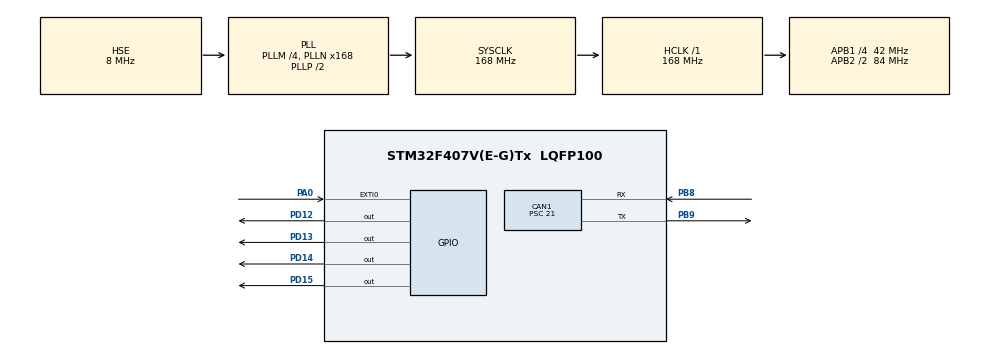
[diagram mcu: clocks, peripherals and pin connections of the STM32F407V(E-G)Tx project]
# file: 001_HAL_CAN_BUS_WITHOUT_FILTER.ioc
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CAN1.BS1=CAN_BS1_10TQ
CAN1.BS2=CAN_BS2_5TQ
CAN1.CalculateBaudRate=125000
CAN1.CalculateTimeBit=8000.00
CAN1.CalculateTimeQuantum=500.0
CAN1.Prescaler=21
Mcu.Family=STM32F4
Mcu.Name=STM32F407V(E-G)Tx
Mcu.Package=LQFP100
NVIC.CAN1_RX0_IRQn=true\:0\:1\:false\:false\:true\:true\:true
NVIC.EXTI0_IRQn=true\:0\:0\:false\:false\:true\:true\:true
NVIC.PriorityGroup=NVIC_PRIORITYGROUP_0
PA0-WKUP.Signal=GPXTI0
PA13.Mode=Serial_Wire
PA13.Signal=SYS_JTMS-SWDIO
PA14.Mode=Serial_Wire
PA14.Signal=SYS_JTCK-SWCLK
PB8.Mode=CAN_Activate
PB8.Signal=CAN1_RX
PB9.Mode=CAN_Activate
PB9.Signal=CAN1_TX
PD12.Signal=GPIO_Output
PD13.Signal=GPIO_Output
PD14.Signal=GPIO_Output
PD15.Signal=GPIO_Output
PH0-OSC_IN.Mode=HSE-External-Oscillator
PH0-OSC_IN.Signal=RCC_OSC_IN
PH1-OSC_OUT.Mode=HSE-External-Oscillator
PH1-OSC_OUT.Signal=RCC_OSC_OUT
ProjectManager.HeapSize=0x200
ProjectManager.StackSize=0x400
ProjectManager.TargetToolchain=MDK-ARM V5.27
RCC.48MHZClocksFreq_Value=84000000
RCC.AHBFreq_Value=168000000
RCC.APB1CLKDivider=RCC_HCLK_DIV4
RCC.APB1Freq_Value=42000000
RCC.APB1TimFreq_Value=84000000
RCC.APB2CLKDivider=RCC_HCLK_DIV2
RCC.APB2Freq_Value=84000000
RCC.APB2TimFreq_Value=168000000
RCC.CortexFreq_Value=168000000
RCC.HCLKFreq_Value=168000000
RCC.HSE_VALUE=8000000
RCC.HSI_VALUE=16000000
RCC.LSE_VALUE=32768
RCC.PLLM=4
RCC.PLLN=168
RCC.PLLSourceVirtual=RCC_PLLSOURCE_HSE
RCC.SYSCLKFreq_VALUE=168000000
RCC.SYSCLKSource=RCC_SYSCLKSOURCE_PLLCLK
RCC.VCOOutputFreq_Value=336000000
board=custom

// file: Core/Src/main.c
/* USER CODE BEGIN Header */
/**
  ******************************************************************************
  * @file           : main.c
  * @brief          : Main program body
  ******************************************************************************
  * @attention
  *
  * <h2><center>&copy; Copyright (c) 2021 STMicroelectronics.
  * All rights reserved.</center></h2>
  *
  * This software component is licensed by ST under BSD 3-Clause license,
  * the "License"; You may not use this file except in compliance with the
  * License. You may obtain a copy of the License at:
  *                        opensource.org/licenses/BSD-3-Clause
  *
  ******************************************************************************
  */
/* USER CODE END Header */
#include "main.h"

CAN_HandleTypeDef hcan1;

CAN_TxHeaderTypeDef pTxHeader;
CAN_RxHeaderTypeDef pRxHeader;

CAN_FilterTypeDef sFilterConfig;

uint32_t pTxMailbox;
uint8_t count;
uint8_t rCount;

void SystemClock_Config(void);
static void MX_GPIO_Init(void);
static void MX_CAN1_Init(void);

int main(void)
{

  /* MCU Configuration--------------------------------------------------------*/

  /* Reset of all peripherals, Initializes the Flash interface and the Systick. */
  HAL_Init();

  /* Configure the system clock */
  SystemClock_Config();

  /* Initialize all configured peripherals */
  MX_GPIO_Init();
  MX_CAN1_Init();
  /* USER CODE BEGIN 2 */
		// Start CAN communication
	HAL_CAN_Start(&hcan1);
		// Enable interrupts
	HAL_CAN_ActivateNotification(&hcan1,CAN_IT_RX_FIFO0_MSG_PENDING);
		//Set Transmit Parameters
		pTxHeader.DLC = 1;
		pTxHeader.IDE = CAN_ID_STD;
		pTxHeader.RTR = CAN_RTR_DATA;
		pTxHeader.StdId = 0x07E0;
		//Set Filter Parameters
		sFilterConfig.FilterActivation = ENABLE;
		sFilterConfig.FilterBank = 0;
		sFilterConfig.FilterFIFOAssignment = CAN_FilterFIFO0;
		sFilterConfig.FilterIdHigh = 0x0152 << 5 ;
		sFilterConfig.FilterIdLow = 0x0000;
		sFilterConfig.FilterMaskIdHigh = 0x0000;
		sFilterConfig.FilterMaskIdLow = 0x0000;
		sFilterConfig.FilterMode = CAN_FILTERMODE_IDLIST;
		sFilterConfig.FilterScale = CAN_FILTERSCALE_16BIT;

		HAL_CAN_ConfigFilter(&hcan1, &sFilterConfig);

  /* USER CODE END 2 */

  /* Infinite loop */
  while (1)
  {

  }
}

void SystemClock_Config(void)
{
  RCC_OscInitTypeDef RCC_OscInitStruct = {0};
  RCC_ClkInitTypeDef RCC_ClkInitStruct = {0};

  /** Configure the main internal regulator output voltage
  */
  __HAL_RCC_PWR_CLK_ENABLE();
  __HAL_PWR_VOLTAGESCALING_CONFIG(PWR_REGULATOR_VOLTAGE_SCALE1);
  /** Initializes the RCC Oscillators according to the specified parameters
  * in the RCC_OscInitTypeDef structure.
  */
  RCC_OscInitStruct.OscillatorType = RCC_OSCILLATORTYPE_HSE;
  RCC_OscInitStruct.HSEState = RCC_HSE_ON;
  RCC_OscInitStruct.PLL.PLLState = RCC_PLL_ON;
  RCC_OscInitStruct.PLL.PLLSource = RCC_PLLSOURCE_HSE;
  RCC_OscInitStruct.PLL.PLLM = 4;
  RCC_OscInitStruct.PLL.PLLN = 168;
  RCC_OscInitStruct.PLL.PLLP = RCC_PLLP_DIV2;
  RCC_OscInitStruct.PLL.PLLQ = 4;
  if (HAL_RCC_OscConfig(&RCC_OscInitStruct) != HAL_OK)
  {
    Error_Handler();
  }
  /** Initializes the CPU, AHB and APB buses clocks
  */
  RCC_ClkInitStruct.ClockType = RCC_CLOCKTYPE_HCLK|RCC_CLOCKTYPE_SYSCLK
                              |RCC_CLOCKTYPE_PCLK1|RCC_CLOCKTYPE_PCLK2;
  RCC_ClkInitStruct.SYSCLKSource = RCC_SYSCLKSOURCE_PLLCLK;
  RCC_ClkInitStruct.AHBCLKDivider = RCC_SYSCLK_DIV1;
  RCC_ClkInitStruct.APB1CLKDivider = RCC_HCLK_DIV4;
  RCC_ClkInitStruct.APB2CLKDivider = RCC_HCLK_DIV2;

  if (HAL_RCC_ClockConfig(&RCC_ClkInitStruct, FLASH_LATENCY_5) != HAL_OK)
  {
    Error_Handler();
  }
}

static void MX_CAN1_Init(void)
{

  hcan1.Instance = CAN1;
  hcan1.Init.Prescaler = 21;
  hcan1.Init.Mode = CAN_MODE_NORMAL;
  hcan1.Init.SyncJumpWidth = CAN_SJW_1TQ;
  hcan1.Init.TimeSeg1 = CAN_BS1_10TQ;
  hcan1.Init.TimeSeg2 = CAN_BS2_5TQ;
  hcan1.Init.TimeTriggeredMode = DISABLE;
  hcan1.Init.AutoBusOff = DISABLE;
  hcan1.Init.AutoWakeUp = DISABLE;
  hcan1.Init.AutoRetransmission = DISABLE;
  hcan1.Init.ReceiveFifoLocked = DISABLE;
  hcan1.Init.TransmitFifoPriority = DISABLE;
  if (HAL_CAN_Init(&hcan1) != HAL_OK)
  {
    Error_Handler();
  }

}

static void MX_GPIO_Init(void)
{
  GPIO_InitTypeDef GPIO_InitStruct = {0};

  /* GPIO Ports Clock Enable */
  __HAL_RCC_GPIOH_CLK_ENABLE();
  __HAL_RCC_GPIOA_CLK_ENABLE();
  __HAL_RCC_GPIOD_CLK_ENABLE();
  __HAL_RCC_GPIOB_CLK_ENABLE();

  /*Configure GPIO pin Output Level */
  HAL_GPIO_WritePin(GPIOD, GPIO_PIN_12|GPIO_PIN_13|GPIO_PIN_14|GPIO_PIN_15, GPIO_PIN_RESET);

  /*Configure GPIO pin : PA0 */
  GPIO_InitStruct.Pin = GPIO_PIN_0;
  GPIO_InitStruct.Mode = GPIO_MODE_IT_RISING;
  GPIO_InitStruct.Pull = GPIO_NOPULL;
  HAL_GPIO_Init(GPIOA, &GPIO_InitStruct);

  /*Configure GPIO pins : PD12 PD13 PD14 PD15 */
  GPIO_InitStruct.Pin = GPIO_PIN_12|GPIO_PIN_13|GPIO_PIN_14|GPIO_PIN_15;
  GPIO_InitStruct.Mode = GPIO_MODE_OUTPUT_PP;
  GPIO_InitStruct.Pull = GPIO_NOPULL;
  GPIO_InitStruct.Speed = GPIO_SPEED_FREQ_LOW;
  HAL_GPIO_Init(GPIOD, &GPIO_InitStruct);

  /* EXTI interrupt init*/
  HAL_NVIC_SetPriority(EXTI0_IRQn, 0, 0);
  HAL_NVIC_EnableIRQ(EXTI0_IRQn);

}

void Error_Handler(void)
{
  __disable_irq();
  while (1)
  {
  }
}

/************************ (C) COPYRIGHT STMicroelectronics *****END OF FILE****/
